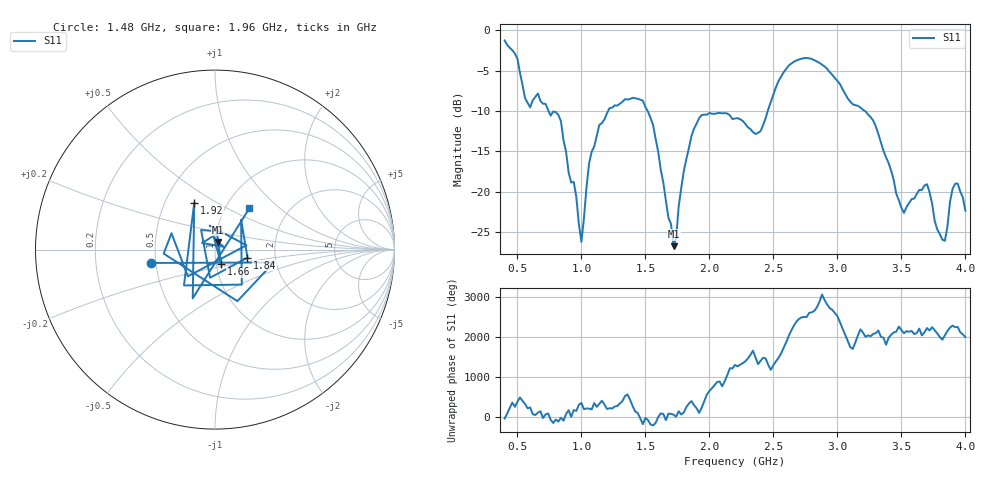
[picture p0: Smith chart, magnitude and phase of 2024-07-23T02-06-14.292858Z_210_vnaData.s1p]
!Created with skrf (http://scikit-rf.org).
# Hz S RI R 50.0
!freq ReS11 ImS11
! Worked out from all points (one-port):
!   181 points, 400 MHz to 4 GHz, reference 50 ohm
!   lowest |S11| = -26.8 dB at 1.72 GHz (marker M1), VSWR 1.10, Z = 51.4 + j4.45 ohm
!   |S11| at or under -10 dB: 743.2 MHz to 1.209 GHz (465.8 MHz wide, 47.7 % of centre); 1.517 GHz to 2.456 GHz (938.9 MHz wide, 47.3 % of centre); 3.214 GHz to end of sweep
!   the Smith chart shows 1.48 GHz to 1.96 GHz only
!   S11 on the Smith chart (normalised r, x): 1.48 GHz: 0.47, -0.08; 1.66 GHz: 1.06, -0.17; 1.84 GHz: 1.43, -0.13; 1.92 GHz: 0.70, +0.40; 1.96 GHz: 1.29, +0.65
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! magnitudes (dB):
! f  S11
! 400 MHz  -1.3
! 600 MHz  -9.6
! 660 MHz  -7.8
! 860 MHz  -13.6
! 940 MHz  -18.8
! 1 GHz  -26.2
! 1.08 GHz  -15.1
! 1.3 GHz  -9.1
! 1.48 GHz  -8.7
! 1.56 GHz  -11.7
! 1.66 GHz  -21.1
! 1.72 GHz  -26.8
! 1.76 GHz  -21.9
! 1.84 GHz  -14.6
! 1.92 GHz  -10.9
! 1.96 GHz  -10.5
! 2.2 GHz  -10.9
! 2.4 GHz  -12.5
! 2.66 GHz  -3.9
! 2.9 GHz  -4.5
! 3.1 GHz  -8.8
! 3.28 GHz  -11.2
! 3.5 GHz  -22.0
! 3.56 GHz  -21.4
! 3.7 GHz  -19.1
! 3.84 GHz  -26.1
! 3.92 GHz  -19.0
! 4 GHz  -22.4
